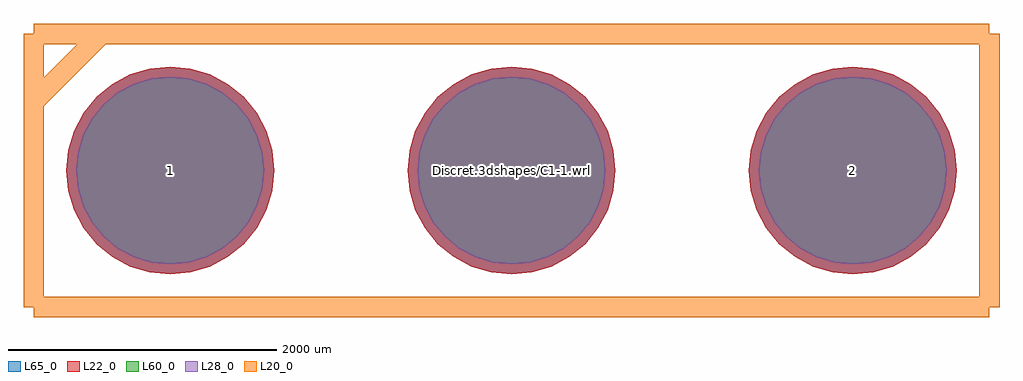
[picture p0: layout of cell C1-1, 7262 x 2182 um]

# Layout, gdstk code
import gdstk
lib = gdstk.Library(unit=1e-6, precision=1e-09)
def P(c, l, *ps):  # polygons
    for p in ps: c.add(gdstk.Polygon(p, *l))
L20_0 = (20, 0)
L22_0 = (22, 0)
L28_0 = (28, 0)
L60_0 = (60, 0)
L65_0 = (65, 0)

c1_1 = lib.new_cell('C1-1')
P(c1_1, L22_0, [(773.5,0),(758.637,150.902),(714.621,296.006),(643.142,429.734),(546.947,546.947),(429.734,643.142),(296.006,714.621),(150.902,758.637),(0,773.5),(-150.902,758.637),(-296.006,714.621),(-429.734,643.142),(-546.947,546.947),(-643.142,429.734),(-714.621,296.006),(-758.637,150.902),(-773.5,0),(-758.637,-150.902),(-714.621,-296.006),(-643.142,-429.734),(-546.947,-546.947),(-429.734,-643.142),(-296.006,-714.621),(-150.902,-758.637),(0,-773.5),(150.902,-758.637),(296.006,-714.621),(429.734,-643.142),(546.947,-546.947),(643.142,-429.734),(714.621,-296.006),(758.637,-150.902)],
  [(3313.5,0),(3298.637,150.902),(3254.621,296.006),(3183.142,429.734),(3086.947,546.947),(2969.734,643.142),(2836.006,714.621),(2690.902,758.637),(2540,773.5),(2389.098,758.637),(2243.994,714.621),(2110.266,643.142),(1993.053,546.947),(1896.858,429.734),(1825.379,296.006),(1781.363,150.902),(1766.5,0),(1781.363,-150.902),(1825.379,-296.006),(1896.858,-429.734),(1993.053,-546.947),(2110.266,-643.142),(2243.994,-714.621),(2389.098,-758.637),(2540,-773.5),(2690.902,-758.637),(2836.006,-714.621),(2969.734,-643.142),(3086.947,-546.947),(3183.142,-429.734),(3254.621,-296.006),(3298.637,-150.902)],
  [(-1766.5,0),(-1781.363,150.902),(-1825.379,296.006),(-1896.858,429.734),(-1993.053,546.947),(-2110.266,643.142),(-2243.994,714.621),(-2389.098,758.637),(-2540,773.5),(-2690.902,758.637),(-2836.006,714.621),(-2969.734,643.142),(-3086.947,546.947),(-3183.142,429.734),(-3254.621,296.006),(-3298.637,150.902),(-3313.5,0),(-3298.637,-150.902),(-3254.621,-296.006),(-3183.142,-429.734),(-3086.947,-546.947),(-2969.734,-643.142),(-2836.006,-714.621),(-2690.902,-758.637),(-2540,-773.5),(-2389.098,-758.637),(-2243.994,-714.621),(-2110.266,-643.142),(-1993.053,-546.947),(-1896.858,-429.734),(-1825.379,-296.006),(-1781.363,-150.902)])
P(c1_1, L28_0, [(698.5,0),(685.079,136.271),(645.33,267.304),(580.782,388.066),(493.914,493.914),(388.066,580.782),(267.304,645.33),(136.271,685.079),(0,698.5),(-136.271,685.079),(-267.304,645.33),(-388.066,580.782),(-493.914,493.914),(-580.782,388.066),(-645.33,267.304),(-685.079,136.271),(-698.5,0),(-685.079,-136.271),(-645.33,-267.304),(-580.782,-388.066),(-493.914,-493.914),(-388.066,-580.782),(-267.304,-645.33),(-136.271,-685.079),(0,-698.5),(136.271,-685.079),(267.304,-645.33),(388.066,-580.782),(493.914,-493.914),(580.782,-388.066),(645.33,-267.304),(685.079,-136.271)],
  [(3238.5,0),(3225.079,136.271),(3185.33,267.304),(3120.782,388.066),(3033.914,493.914),(2928.066,580.782),(2807.304,645.33),(2676.271,685.079),(2540,698.5),(2403.729,685.079),(2272.696,645.33),(2151.934,580.782),(2046.086,493.914),(1959.218,388.066),(1894.67,267.304),(1854.921,136.271),(1841.5,0),(1854.921,-136.271),(1894.67,-267.304),(1959.218,-388.066),(2046.086,-493.914),(2151.934,-580.782),(2272.696,-645.33),(2403.729,-685.079),(2540,-698.5),(2676.271,-685.079),(2807.304,-645.33),(2928.066,-580.782),(3033.914,-493.914),(3120.782,-388.066),(3185.33,-267.304),(3225.079,-136.271)],
  [(-1841.5,0),(-1854.921,136.271),(-1894.67,267.304),(-1959.218,388.066),(-2046.086,493.914),(-2151.934,580.782),(-2272.696,645.33),(-2403.729,685.079),(-2540,698.5),(-2676.271,685.079),(-2807.304,645.33),(-2928.066,580.782),(-3033.914,493.914),(-3120.782,388.066),(-3185.33,267.304),(-3225.079,136.271),(-3238.5,0),(-3225.079,-136.271),(-3185.33,-267.304),(-3120.782,-388.066),(-3033.914,-493.914),(-2928.066,-580.782),(-2807.304,-645.33),(-2676.271,-685.079),(-2540,-698.5),(-2403.729,-685.079),(-2272.696,-645.33),(-2151.934,-580.782),(-2046.086,-493.914),(-1959.218,-388.066),(-1894.67,-267.304),(-1854.921,-136.271)])
P(c1_1, L60_0, [(698.5,0),(685.079,136.271),(645.33,267.304),(580.782,388.066),(493.914,493.914),(388.066,580.782),(267.304,645.33),(136.271,685.079),(0,698.5),(-136.271,685.079),(-267.304,645.33),(-388.066,580.782),(-493.914,493.914),(-580.782,388.066),(-645.33,267.304),(-685.079,136.271),(-698.5,0),(-685.079,-136.271),(-645.33,-267.304),(-580.782,-388.066),(-493.914,-493.914),(-388.066,-580.782),(-267.304,-645.33),(-136.271,-685.079),(0,-698.5),(136.271,-685.079),(267.304,-645.33),(388.066,-580.782),(493.914,-493.914),(580.782,-388.066),(645.33,-267.304),(685.079,-136.271)],
  [(3238.5,0),(3225.079,136.271),(3185.33,267.304),(3120.782,388.066),(3033.914,493.914),(2928.066,580.782),(2807.304,645.33),(2676.271,685.079),(2540,698.5),(2403.729,685.079),(2272.696,645.33),(2151.934,580.782),(2046.086,493.914),(1959.218,388.066),(1894.67,267.304),(1854.921,136.271),(1841.5,0),(1854.921,-136.271),(1894.67,-267.304),(1959.218,-388.066),(2046.086,-493.914),(2151.934,-580.782),(2272.696,-645.33),(2403.729,-685.079),(2540,-698.5),(2676.271,-685.079),(2807.304,-645.33),(2928.066,-580.782),(3033.914,-493.914),(3120.782,-388.066),(3185.33,-267.304),(3225.079,-136.271)],
  [(-1841.5,0),(-1854.921,136.271),(-1894.67,267.304),(-1959.218,388.066),(-2046.086,493.914),(-2151.934,580.782),(-2272.696,645.33),(-2403.729,685.079),(-2540,698.5),(-2676.271,685.079),(-2807.304,645.33),(-2928.066,580.782),(-3033.914,493.914),(-3120.782,388.066),(-3185.33,267.304),(-3225.079,136.271),(-3238.5,0),(-3225.079,-136.271),(-3185.33,-267.304),(-3120.782,-388.066),(-3033.914,-493.914),(-2928.066,-580.782),(-2807.304,-645.33),(-2676.271,-685.079),(-2540,-698.5),(-2403.729,-685.079),(-2272.696,-645.33),(-2151.934,-580.782),(-2046.086,-493.914),(-1959.218,-388.066),(-1894.67,-267.304),(-1854.921,-136.271)])
P(c1_1, L65_0, [(773.5,0),(758.637,150.902),(714.621,296.006),(643.142,429.734),(546.947,546.947),(429.734,643.142),(296.006,714.621),(150.902,758.637),(0,773.5),(-150.902,758.637),(-296.006,714.621),(-429.734,643.142),(-546.947,546.947),(-643.142,429.734),(-714.621,296.006),(-758.637,150.902),(-773.5,0),(-758.637,-150.902),(-714.621,-296.006),(-643.142,-429.734),(-546.947,-546.947),(-429.734,-643.142),(-296.006,-714.621),(-150.902,-758.637),(0,-773.5),(150.902,-758.637),(296.006,-714.621),(429.734,-643.142),(546.947,-546.947),(643.142,-429.734),(714.621,-296.006),(758.637,-150.902)],
  [(3313.5,0),(3298.637,150.902),(3254.621,296.006),(3183.142,429.734),(3086.947,546.947),(2969.734,643.142),(2836.006,714.621),(2690.902,758.637),(2540,773.5),(2389.098,758.637),(2243.994,714.621),(2110.266,643.142),(1993.053,546.947),(1896.858,429.734),(1825.379,296.006),(1781.363,150.902),(1766.5,0),(1781.363,-150.902),(1825.379,-296.006),(1896.858,-429.734),(1993.053,-546.947),(2110.266,-643.142),(2243.994,-714.621),(2389.098,-758.637),(2540,-773.5),(2690.902,-758.637),(2836.006,-714.621),(2969.734,-643.142),(3086.947,-546.947),(3183.142,-429.734),(3254.621,-296.006),(3298.637,-150.902)],
  [(-1766.5,0),(-1781.363,150.902),(-1825.379,296.006),(-1896.858,429.734),(-1993.053,546.947),(-2110.266,643.142),(-2243.994,714.621),(-2389.098,758.637),(-2540,773.5),(-2690.902,758.637),(-2836.006,714.621),(-2969.734,643.142),(-3086.947,546.947),(-3183.142,429.734),(-3254.621,296.006),(-3298.637,150.902),(-3313.5,0),(-3298.637,-150.902),(-3254.621,-296.006),(-3183.142,-429.734),(-3086.947,-546.947),(-2969.734,-643.142),(-2836.006,-714.621),(-2690.902,-758.637),(-2540,-773.5),(-2389.098,-758.637),(-2243.994,-714.621),(-2110.266,-643.142),(-1993.053,-546.947),(-1896.858,-429.734),(-1825.379,-296.006),(-1781.363,-150.902)])
c1_1.add(gdstk.FlexPath([(-3556,508),(-3048,1016)], 149.998, ends="flush", simple_path=True, layer=20, datatype=0))  # L20_0
c1_1.add(gdstk.FlexPath([(-3556,-1016),(-3556,1016)], 149.998, ends="flush", simple_path=True, layer=20, datatype=0))  # L20_0
c1_1.add(gdstk.FlexPath([(3556,-1016),(-3556,-1016)], 149.998, ends="flush", simple_path=True, layer=20, datatype=0))  # L20_0
c1_1.add(gdstk.FlexPath([(3556,1016),(3556,-1016)], 149.998, ends="flush", simple_path=True, layer=20, datatype=0))  # L20_0
c1_1.add(gdstk.FlexPath([(-3556,1016),(3556,1016)], 149.998, ends="flush", simple_path=True, layer=20, datatype=0))  # L20_0
c1_1.add(gdstk.Label('Discret.3dshapes/C1-1.wrl', (0,0), layer=12, texttype=0))
c1_1.add(gdstk.Label('2', (2540,0), layer=28, texttype=0))
c1_1.add(gdstk.Label('1', (-2540,0), layer=28, texttype=0))
c1_1.add(gdstk.Label('type', (0,-2032), layer=9, texttype=0))
c1_1.add(gdstk.Label('devicename', (0,-2032), layer=9, texttype=0))

lib.write_gds('C1-1.gds')
